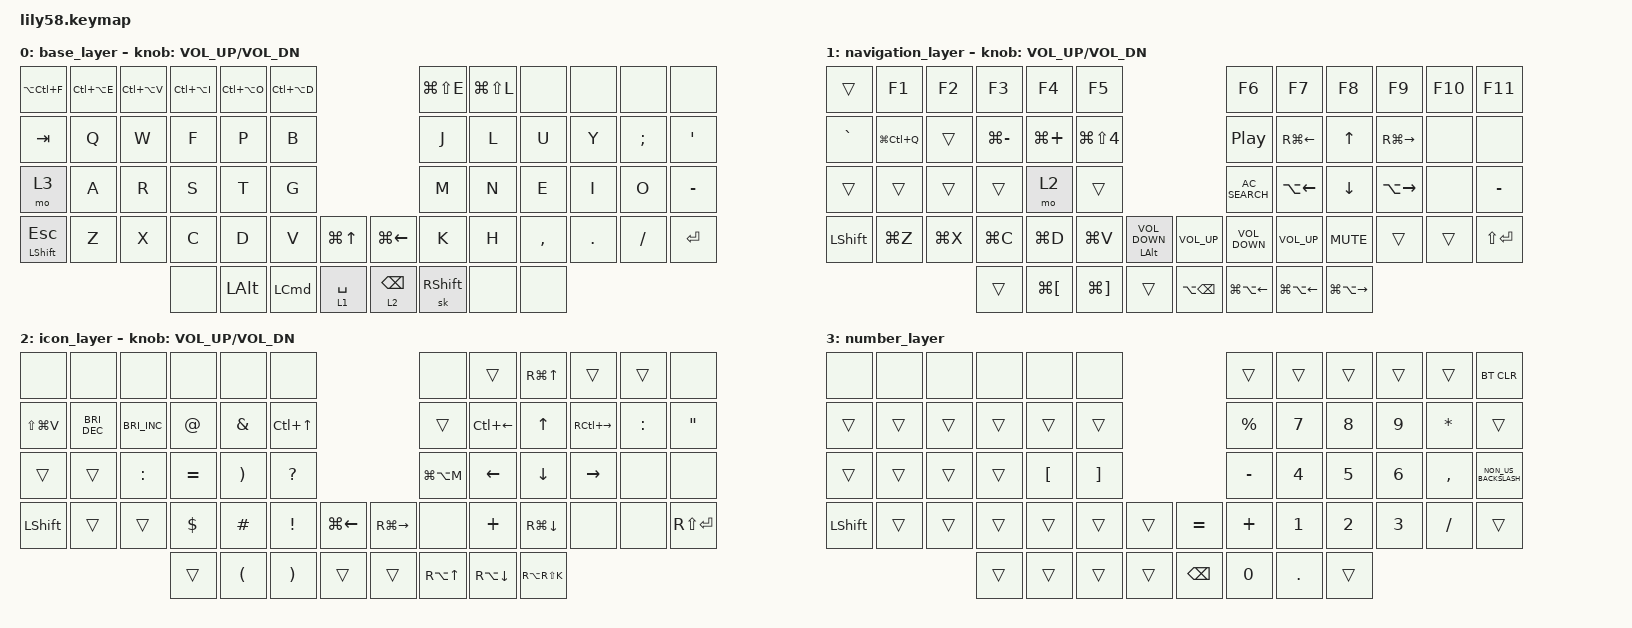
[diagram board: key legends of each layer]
/*
 * Copyright (c) 2020 The ZMK Contributors
 *
 * SPDX-License-Identifier: MIT
 */

#include <behaviors.dtsi>
#include <dt-bindings/zmk/bt.h>
#include <dt-bindings/zmk/keys.h>

/ {
    combos {
        compatible = "zmk,combos";

        Screenshot {
            bindings = <&kp LS(LG(NUMBER_4))>;
            key-positions = <37 38 37 38>;
            layers = <0>;
            timeout-ms = <50>;
        };

        Paste {
            bindings = <&kp K_PASTE>;
            key-positions = <41 40>;
            layers = <0>;
        };

        Copy {
            bindings = <&kp K_COPY>;
            key-positions = <38 39>;
            layers = <0>;
        };
    };

    keymap {
        compatible = "zmk,keymap";

        base_layer {
            // ------------------------------------------------------------------------------------------------------------
            // |  ESC  |  1  |  2  |  3   |  4   |  5   |                   |  6   |  7    |  8    |  9   |   0   |   `   |
            // |  TAB  |  Q  |  W  |  E   |  R   |  T   |                   |  Y   |  U    |  I    |  O   |   P   |   -   |
            // |  CTRL |  A  |  S  |  D   |  F   |  G   |                   |  H   |  J    |  K    |  L   |   ;   |   '   |
            // | SHIFT |  Z  |  X  |  C   |  V   |  B   |   "["  |  |  "]"  |  N   |  M    |  ,    |  .   |   /   | SHIFT |
            //                     | ALT  | GUI  | LOWER|  SPACE |  | ENTER | RAISE| BSPC  | GUI   |

            bindings = <
&kp LA(LC(F))     &kp LC(LA(E))  &kp LC(LA(V))  &kp LC(LA(I))  &kp LC(LA(O))  &kp LC(LA(D))                                             &kp LG(LS(E))    &kp LG(LS(L))  &none      &none    &none          &none
&kp TAB           &kp Q          &kp W          &kp F          &kp P          &kp B                                                     &kp J            &kp L          &kp U      &kp Y    &kp SEMICOLON  &kp SINGLE_QUOTE
&mo 3             &kp A          &kp R          &kp S          &kp T          &kp G                                                     &kp M            &kp N          &kp E      &kp I    &kp O          &kp MINUS
&mt LSHFT ESCAPE  &kp Z          &kp X          &kp C          &kp D          &kp V             &kp LG(UP_ARROW)    &kp LG(LEFT_ARROW)  &kp K            &kp H          &kp COMMA  &kp DOT  &kp SLASH      &kp RETURN
                                                &none          &kp LEFT_ALT   &kp LEFT_COMMAND  &lt 1 SPACE         &lt 2 BACKSPACE     &sk RIGHT_SHIFT  &none          &none
            >;

            sensor-bindings = <&inc_dec_kp C_VOL_UP C_VOL_DN>;
        };

        navigation_layer {
            // ------------------------------------------------------------------------------------------------------------
            // | BTCLR | BT1 | BT2 |  BT3 |  BT4 |  BT5 |                   |      |       |       |      |       |       |
            // |  F1   |  F2 |  F3 |  F4  |  F5  |  F6  |                   |  F7  |  F8   |  F9   |  F10 |  F11  |  F12  |
            // |   `   |  !  |  @  |  #   |  $   |  %   |                   |  ^   |  &    |  *    |  (   |   )   |   ~   |
            // |       |     |     |      |      |      |        |  |       |      |  _    |  +    |  {   |   }   |  "|"  |
            //                     |      |      |      |        |  |       |      |       |       |

            bindings = <
&trans          &kp F1         &kp F2     &kp F3         &kp F4                &kp F5                                                                  &kp F6                  &kp F7                  &kp F8                   &kp F9               &kp F10  &kp F11
&kp GRAVE       &kp LG(LC(Q))  &trans     &kp LG(MINUS)  &kp LG(PLUS)          &kp LG(LS(NUMBER_4))                                                    &kp C_PP                &kp RG(LEFT_ARROW)      &kp UP_ARROW             &kp RG(RIGHT_ARROW)  &none    &none
&trans          &trans         &trans     &trans         &mo 2                 &trans                                                                  &kp C_AC_SEARCH         &kp LA(LEFT_ARROW)      &kp DOWN_ARROW           &kp LA(RIGHT_ARROW)  &none    &kp MINUS
&kp LEFT_SHIFT  &kp LG(Z)      &kp LG(X)  &kp LG(C)      &kp LG(D)             &kp LG(V)              &mt LEFT_ALT C_VOLUME_DOWN    &kp C_VOLUME_UP    &kp C_VOLUME_DOWN       &kp C_VOLUME_UP         &kp C_MUTE               &trans               &trans   &kp LS(RETURN)
                                          &trans         &kp LG(LEFT_BRACKET)  &kp LG(RIGHT_BRACKET)  &trans                        &kp LA(BACKSPACE)  &kp LG(LA(LEFT_ARROW))  &kp LG(LA(LEFT_ARROW))  &kp LG(LA(RIGHT_ARROW))
            >;

            sensor-bindings = <&inc_dec_kp C_VOL_UP C_VOL_DN>;
        };

        icon_layer {
            // ------------------------------------------------------------------------------------------------------------
            // |       |     |     |      |      |      |                   |      |       |       |      |       |       |
            // |   `   |  1  |  2  |  3   |  4   |  5   |                   |  6   |   7   |   8   |  9   |   0   |       |
            // |   F1  |  F2 |  F3 |  F4  |  F5  |  F6  |                   |      |   <-  |   v   |  ^   |  ->   |       |
            // |   F7  |  F8 |  F9 |  F10 |  F11 |  F12 |        |  |       |  +   |   -   |   =   |  [   |   ]   |   \   |
            //                     |      |      |      |        |  |       |      |       |       |

            bindings = <
&none           &none                 &none                 &none        &none                  &none                                                             &none             &trans              &kp RG(UP_ARROW)    &trans               &trans     &none
&kp LS(LG(V))   &kp C_BRIGHTNESS_DEC  &kp C_BRIGHTNESS_INC  &kp AT_SIGN  &kp AMPERSAND          &kp LC(UP_ARROW)                                                  &trans            &kp LC(LEFT_ARROW)  &kp UP_ARROW        &kp RC(RIGHT_ARROW)  &kp COLON  &kp DOUBLE_QUOTES
&trans          &trans                &kp COLON             &kp EQUAL    &kp RIGHT_PARENTHESIS  &kp QUESTION                                                      &kp LG(LA(M))     &kp LEFT_ARROW      &kp DOWN_ARROW      &kp RIGHT_ARROW      &none      &none
&kp LEFT_SHIFT  &trans                &trans                &kp DOLLAR   &kp HASH               &kp EXCLAMATION        &kp LG(LEFT_ARROW)    &kp RG(RIGHT_ARROW)  &none             &kp PLUS            &kp RG(DOWN_ARROW)  &none                &none      &kp RS(RETURN)
                                                            &trans       &kp LEFT_PARENTHESIS   &kp RIGHT_PARENTHESIS  &trans                &trans               &kp RA(UP_ARROW)  &kp RA(DOWN_ARROW)  &kp RA(RS(K))
            >;

            sensor-bindings = <&inc_dec_kp C_VOL_UP C_VOL_DN>;
        };

        number_layer {
            bindings = <
&none           &none   &none   &none   &none             &none                                       &trans        &trans        &trans        &trans        &trans        &bt BT_CLR
&trans          &trans  &trans  &trans  &trans            &trans                                      &kp PERCENT   &kp NUMBER_7  &kp NUMBER_8  &kp NUMBER_9  &kp ASTERISK  &trans
&trans          &trans  &trans  &trans  &kp LEFT_BRACKET  &kp RIGHT_BRACKET                           &kp MINUS     &kp NUMBER_4  &kp NUMBER_5  &kp NUMBER_6  &kp COMMA     &kp NON_US_BACKSLASH
&kp LEFT_SHIFT  &trans  &trans  &trans  &trans            &trans             &trans    &kp EQUAL      &kp PLUS      &kp NUMBER_1  &kp NUMBER_2  &kp NUMBER_3  &kp SLASH     &trans
                                &trans  &trans            &trans             &trans    &kp BACKSPACE  &kp NUMBER_0  &kp PERIOD    &trans
            >;
        };
    };
};
